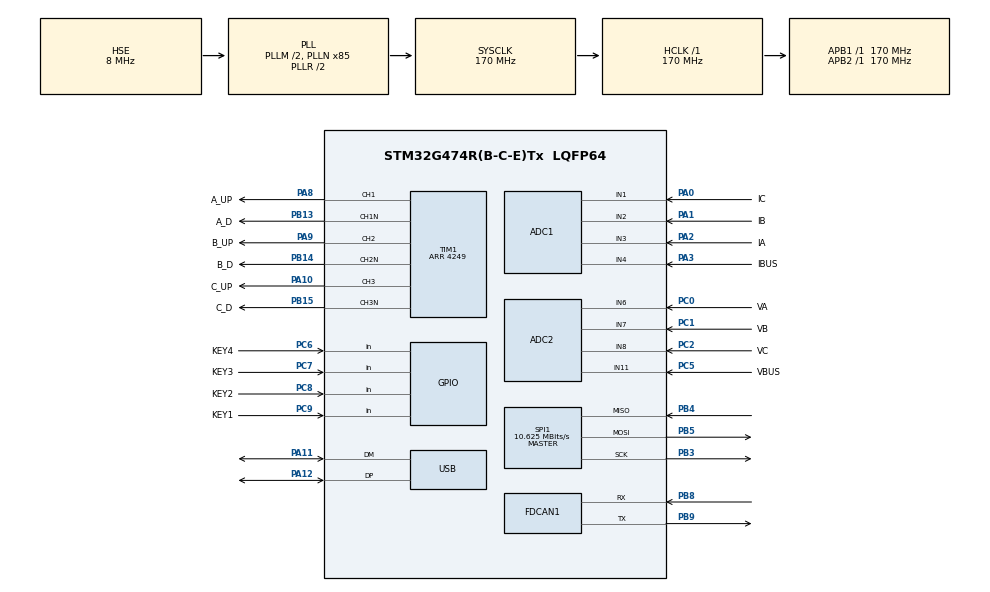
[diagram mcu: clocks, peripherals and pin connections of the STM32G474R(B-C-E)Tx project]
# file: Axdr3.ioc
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ADC1.Channel-6\#ChannelRegularConversion=ADC_CHANNEL_VREFINT
ADC1.EOCSelection=ADC_EOC_SEQ_CONV
ADC1.EnableInjectedConversion=ENABLE
ADC1.EnableRegularConversion=ENABLE
ADC1.ExternalTrigInjecConv=ADC_EXTERNALTRIGINJEC_T1_CC4
ADC1.ExternalTrigInjecConvEdge=ADC_EXTERNALTRIGINJECCONV_EDGE_FALLING
ADC1.InjNumberOfConversion=3
ADC1.InjectedChannel-1\#ChannelInjectedConversion=ADC_CHANNEL_1
ADC1.InjectedChannel-2\#ChannelInjectedConversion=ADC_CHANNEL_2
ADC1.InjectedChannel-3\#ChannelInjectedConversion=ADC_CHANNEL_3
ADC1.InjectedOffsetNumber-1\#ChannelInjectedConversion=ADC_OFFSET_NONE
ADC1.InjectedOffsetNumber-2\#ChannelInjectedConversion=ADC_OFFSET_NONE
ADC1.InjectedOffsetNumber-3\#ChannelInjectedConversion=ADC_OFFSET_NONE
ADC1.InjectedRank-1\#ChannelInjectedConversion=1
ADC1.InjectedRank-2\#ChannelInjectedConversion=2
ADC1.InjectedRank-3\#ChannelInjectedConversion=3
ADC1.InjectedSamplingTime-1\#ChannelInjectedConversion=ADC_SAMPLETIME_2CYCLES_5
ADC1.InjectedSamplingTime-2\#ChannelInjectedConversion=ADC_SAMPLETIME_2CYCLES_5
ADC1.InjectedSamplingTime-3\#ChannelInjectedConversion=ADC_SAMPLETIME_2CYCLES_5
ADC1.NbrOfConversionFlag=1
ADC1.OffsetNumber-6\#ChannelRegularConversion=ADC_OFFSET_NONE
ADC1.Rank-6\#ChannelRegularConversion=1
ADC1.SamplingTime-6\#ChannelRegularConversion=ADC_SAMPLETIME_247CYCLES_5
ADC1.master=1
ADC2.EOCSelection=ADC_EOC_SEQ_CONV
ADC2.EnableInjectedConversion=ENABLE
ADC2.EnableRegularConversion=DISABLE
ADC2.ExternalTrigInjecConv=ADC_EXTERNALTRIGINJEC_T1_CC4
ADC2.ExternalTrigInjecConvEdge=ADC_EXTERNALTRIGINJECCONV_EDGE_FALLING
ADC2.InjNumberOfConversion=1
ADC2.InjectedChannel-1\#ChannelInjectedConversion=ADC_CHANNEL_11
ADC2.InjectedOffsetNumber-1\#ChannelInjectedConversion=ADC_OFFSET_NONE
ADC2.InjectedRank-1\#ChannelInjectedConversion=1
ADC2.InjectedSamplingTime-1\#ChannelInjectedConversion=ADC_SAMPLETIME_2CYCLES_5
ADC2.Rank1_Channel=ADC_CHANNEL_11
FDCAN1.CalculateBaudRateNominal=500000
FDCAN1.CalculateTimeBitNominal=2000
FDCAN1.CalculateTimeQuantumNominal=100.0
FDCAN1.NominalPrescaler=17
FDCAN1.NominalTimeSeg1=16
FDCAN1.NominalTimeSeg2=3
Mcu.Family=STM32G4
Mcu.Name=STM32G474R(B-C-E)Tx
Mcu.Package=LQFP64
NVIC.ADC1_2_IRQn=true\:0\:0\:false\:false\:true\:true\:true\:true
NVIC.FDCAN1_IT0_IRQn=true\:1\:0\:true\:false\:true\:true\:true\:true
NVIC.FDCAN1_IT1_IRQn=true\:1\:0\:true\:false\:true\:true\:true\:true
NVIC.PriorityGroup=NVIC_PRIORITYGROUP_4
NVIC.TIM2_IRQn=true\:2\:0\:true\:false\:true\:true\:true\:true
NVIC.USB_LP_IRQn=true\:1\:0\:true\:false\:true\:false\:true\:true
PA0.GPIO_Label=IC
PA0.Mode=IN1-Single-Ended
PA0.Signal=ADC1_IN1
PA1.GPIO_Label=IB
PA1.Mode=IN2-Single-Ended
PA1.Signal=ADC1_IN2
PA10.GPIO_Label=C_UP
PA10.Signal=S_TIM1_CH3
PA11.Mode=Device
PA11.Signal=USB_DM
PA12.Mode=Device
PA12.Signal=USB_DP
PA13.Mode=Serial_Wire
PA13.Signal=SYS_JTMS-SWDIO
PA14.Mode=Serial_Wire
PA14.Signal=SYS_JTCK-SWCLK
PA2.GPIO_Label=IA
PA2.Mode=IN3-Single-Ended
PA2.Signal=ADC1_IN3
PA3.GPIO_Label=IBUS
PA3.Mode=IN4-Single-Ended
PA3.Signal=ADC1_IN4
PA8.GPIO_Label=A_UP
PA8.Signal=S_TIM1_CH1
PA9.GPIO_Label=B_UP
PA9.Signal=S_TIM1_CH2
PB13.GPIO_Label=A_D
PB13.Mode=PWM Generation1 CH1 CH1N
PB13.Signal=TIM1_CH1N
PB14.GPIO_Label=B_D
PB14.Mode=PWM Generation2 CH2 CH2N
PB14.Signal=TIM1_CH2N
PB15.GPIO_Label=C_D
PB15.Mode=PWM Generation3 CH3 CH3N
PB15.Signal=TIM1_CH3N
PB3.Mode=Full_Duplex_Master
PB3.Signal=SPI1_SCK
PB4.Mode=Full_Duplex_Master
PB4.Signal=SPI1_MISO
PB5.Mode=Full_Duplex_Master
PB5.Signal=SPI1_MOSI
PB8-BOOT0.Mode=FDCAN_Activate
PB8-BOOT0.Signal=FDCAN1_RX
PB9.Mode=FDCAN_Activate
PB9.Signal=FDCAN1_TX
PC0.GPIO_Label=VA
PC0.Mode=IN6-Single-Ended
PC0.Signal=ADC2_IN6
PC1.GPIO_Label=VB
PC1.Mode=IN7-Single-Ended
PC1.Signal=ADC2_IN7
PC2.GPIO_Label=VC
PC2.Mode=IN8-Single-Ended
PC2.Signal=ADC2_IN8
PC5.GPIO_Label=VBUS
PC5.Mode=IN11-Single-Ended
PC5.Signal=ADC2_IN11
PC6.GPIO_Label=KEY4
PC6.Signal=GPIO_Input
PC7.GPIO_Label=KEY3
PC7.Signal=GPIO_Input
PC8.GPIO_Label=KEY2
PC8.Signal=GPIO_Input
PC9.GPIO_Label=KEY1
PC9.Signal=GPIO_Input
PF0-OSC_IN.Mode=HSE-External-Oscillator
PF0-OSC_IN.Signal=RCC_OSC_IN
PF1-OSC_OUT.Mode=HSE-External-Oscillator
PF1-OSC_OUT.Signal=RCC_OSC_OUT
ProjectManager.HeapSize=0x200
ProjectManager.StackSize=0x400
ProjectManager.TargetToolchain=MDK-ARM V5.32
RCC.ADC12Freq_Value=170000000
RCC.ADC345Freq_Value=170000000
RCC.AHBFreq_Value=170000000
RCC.APB1Freq_Value=170000000
RCC.APB1TimFreq_Value=170000000
RCC.APB2Freq_Value=170000000
RCC.APB2TimFreq_Value=170000000
RCC.CK48CLockSelection=RCC_USBCLKSOURCE_HSI48
RCC.CortexFreq_Value=170000000
RCC.EXTERNAL_CLOCK_VALUE=12288000
RCC.HCLKFreq_Value=170000000
RCC.HSE_VALUE=8000000
RCC.HSI48_VALUE=48000000
RCC.HSI_VALUE=16000000
RCC.LSE_VALUE=32768
RCC.PLLM=RCC_PLLM_DIV2
RCC.PLLN=85
RCC.PLLQ=RCC_PLLQ_DIV4
RCC.PLLSourceVirtual=RCC_PLLSOURCE_HSE
RCC.SYSCLKFreq_VALUE=170000000
RCC.SYSCLKSource=RCC_SYSCLKSOURCE_PLLCLK
RCC.USBFreq_Value=48000000
RCC.VCOOutputFreq_Value=340000000
SH.S_TIM1_CH1.0=TIM1_CH1,PWM Generation1 CH1 CH1N
SH.S_TIM1_CH2.0=TIM1_CH2,PWM Generation2 CH2 CH2N
SH.S_TIM1_CH3.0=TIM1_CH3,PWM Generation3 CH3 CH3N
SPI1.BaudRatePrescaler=SPI_BAUDRATEPRESCALER_16
SPI1.CLKPhase=SPI_PHASE_2EDGE
SPI1.CalculateBaudRate=10.625 MBits/s
SPI1.DataSize=SPI_DATASIZE_16BIT
SPI1.Direction=SPI_DIRECTION_2LINES
SPI1.Mode=SPI_MODE_MASTER
SPI1.VirtualType=VM_MASTER
TIM1.Channel-PWM\ Generation1\ CH1\ CH1N=TIM_CHANNEL_1
TIM1.Channel-PWM\ Generation2\ CH2\ CH2N=TIM_CHANNEL_2
TIM1.Channel-PWM\ Generation3\ CH3\ CH3N=TIM_CHANNEL_3
TIM1.Channel-PWM\ Generation4\ No\ Output=TIM_CHANNEL_4
TIM1.CounterMode=TIM_COUNTERMODE_CENTERALIGNED2
TIM1.PeriodNoDither=4249
TIM2.AutoReloadPreload=TIM_AUTORELOAD_PRELOAD_DISABLE
TIM2.PeriodNoDither=9999
TIM2.Prescaler=16
TIM8.PeriodNoDither=17000
USB_DEVICE.APP_RX_DATA_SIZE=1024
USB_DEVICE.APP_TX_DATA_SIZE=1024
USB_DEVICE.CLASS_NAME_FS=CDC
USB_DEVICE.VirtualMode=Cdc
USB_DEVICE.VirtualModeFS=Cdc_FS
VP_ADC1_Vref_Input.Mode=IN-Vrefint
VP_CORDIC_VS_CORDIC.Mode=CORDIC_Activate
VP_SYS_VS_DBSignals.Mode=DisableDeadBatterySignals
VP_TIM1_VS_ClockSourceINT.Mode=Internal
VP_TIM1_VS_no_output4.Mode=PWM Generation4 No Output
VP_TIM2_VS_ClockSourceINT.Mode=Internal
VP_TIM8_VS_ClockSourceINT.Mode=Internal
VP_USB_DEVICE_VS_USB_DEVICE_CDC_FS.Mode=CDC_FS
board=custom

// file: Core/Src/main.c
/* USER CODE BEGIN Header */
/**
  ******************************************************************************
  * @file           : main.c
  * @brief          : Main program body
  ******************************************************************************
  * @attention
  *
  * Copyright (c) 2026 STMicroelectronics.
  * All rights reserved.
  *
  * This software is licensed under terms that can be found in the LICENSE file
  * in the root directory of this software component.
  * If no LICENSE file comes with this software, it is provided AS-IS.
  *
  ******************************************************************************
  */
/* USER CODE END Header */
#include "main.h"
#include "adc.h"
#include "cordic.h"
#include "fdcan.h"
#include "spi.h"
#include "tim.h"
#include "usb_device.h"
#include "gpio.h"

/* USER CODE BEGIN Includes */
#include "app_init.h"
#include "gloab.h"
#include "foc_main.h"
#include "usbd_cdc_if.h"
#include "foc.h"
/* USER CODE END Includes */

void SystemClock_Config(void);

/* USER CODE BEGIN 0 */
#define VOF_CH_NUM  20
#define byte0(dw_temp)     (*(char*)(&dw_temp))
#define byte1(dw_temp)     (*((char*)(&dw_temp) + 1))
#define byte2(dw_temp)     (*((char*)(&dw_temp) + 2))
#define byte3(dw_temp)     (*((char*)(&dw_temp) + 3))
uint16_t cnt = 0;
uint8_t send_buf[(VOF_CH_NUM+1)*4];

void vofa_transmit(uint8_t* buf, uint16_t len)
{
	CDC_Transmit_FS((uint8_t *)buf, len);
}

void vofa_send_data(uint8_t num, float data)
{
	send_buf[cnt++] = byte0(data);
	send_buf[cnt++] = byte1(data);
	send_buf[cnt++] = byte2(data);
	send_buf[cnt++] = byte3(data);
}

void vofa_sendframetail(void)
{
	send_buf[cnt++] = 0x00;
	send_buf[cnt++] = 0x00;
	send_buf[cnt++] = 0x80;
	send_buf[cnt++] = 0x7f;

	/* 将数据和帧尾打包发送 */
	vofa_transmit((uint8_t *)send_buf, cnt);
	cnt = 0;// 每次发送完帧尾都需要清零
}

void vofa_start(void)
{
  vofa_send_data(0,foc.vbus);
  vofa_send_data(1,foc.theta);
  vofa_send_data(2,foc_ctrl.omega_speed);
  vofa_send_data(3,foc.v_d);
  vofa_send_data(4,foc.v_q);
  vofa_send_data(5,foc.i_d);
  vofa_send_data(6,foc.i_q);
  vofa_send_data(7,foc_sample.obs_theta);
  vofa_send_data(8,pll_info.pll_theta);
  vofa_send_data(9,foc_ctrl.rpm);
  vofa_send_data(10,speed_td.speed_rpm);
  vofa_send_data(11,foc_sample.pll_speed);
  vofa_sendframetail();
}

void user_cycle(void)
{

    if(tim_tick.tick_ms)
    {
        foc_in_maincyc();
        tim_tick.tick_ms = 0;
    }
    vofa_start();
}
/* USER CODE END 0 */

int main(void)
{

  /* MCU Configuration--------------------------------------------------------*/

  /* Reset of all peripherals, Initializes the Flash interface and the Systick. */
  HAL_Init();

  /* Configure the system clock */
  SystemClock_Config();

  /* Initialize all configured peripherals */
  MX_GPIO_Init();
  MX_ADC1_Init();
  MX_ADC2_Init();
  MX_SPI1_Init();
  MX_TIM1_Init();
  MX_CORDIC_Init();
  MX_FDCAN1_Init();
  MX_TIM8_Init();
  MX_USB_Device_Init();
  MX_TIM2_Init();
  /* USER CODE BEGIN 2 */
  user_init();
  /* USER CODE END 2 */

  /* Infinite loop */
  /* USER CODE BEGIN WHILE */
  while (1)
  {
    user_cycle();
    /* USER CODE END WHILE */

  }
}

void SystemClock_Config(void)
{
  RCC_OscInitTypeDef RCC_OscInitStruct = {0};
  RCC_ClkInitTypeDef RCC_ClkInitStruct = {0};

  /** Configure the main internal regulator output voltage
  */
  HAL_PWREx_ControlVoltageScaling(PWR_REGULATOR_VOLTAGE_SCALE1_BOOST);

  /** Initializes the RCC Oscillators according to the specified parameters
  * in the RCC_OscInitTypeDef structure.
  */
  RCC_OscInitStruct.OscillatorType = RCC_OSCILLATORTYPE_HSI48|RCC_OSCILLATORTYPE_HSE;
  RCC_OscInitStruct.HSEState = RCC_HSE_ON;
  RCC_OscInitStruct.HSI48State = RCC_HSI48_ON;
  RCC_OscInitStruct.PLL.PLLState = RCC_PLL_ON;
  RCC_OscInitStruct.PLL.PLLSource = RCC_PLLSOURCE_HSE;
  RCC_OscInitStruct.PLL.PLLM = RCC_PLLM_DIV2;
  RCC_OscInitStruct.PLL.PLLN = 85;
  RCC_OscInitStruct.PLL.PLLP = RCC_PLLP_DIV2;
  RCC_OscInitStruct.PLL.PLLQ = RCC_PLLQ_DIV4;
  RCC_OscInitStruct.PLL.PLLR = RCC_PLLR_DIV2;
  if (HAL_RCC_OscConfig(&RCC_OscInitStruct) != HAL_OK)
  {
    Error_Handler();
  }

  /** Initializes the CPU, AHB and APB buses clocks
  */
  RCC_ClkInitStruct.ClockType = RCC_CLOCKTYPE_HCLK|RCC_CLOCKTYPE_SYSCLK
                              |RCC_CLOCKTYPE_PCLK1|RCC_CLOCKTYPE_PCLK2;
  RCC_ClkInitStruct.SYSCLKSource = RCC_SYSCLKSOURCE_PLLCLK;
  RCC_ClkInitStruct.AHBCLKDivider = RCC_SYSCLK_DIV1;
  RCC_ClkInitStruct.APB1CLKDivider = RCC_HCLK_DIV1;
  RCC_ClkInitStruct.APB2CLKDivider = RCC_HCLK_DIV1;

  if (HAL_RCC_ClockConfig(&RCC_ClkInitStruct, FLASH_LATENCY_4) != HAL_OK)
  {
    Error_Handler();
  }
}

void Error_Handler(void)
{
  __disable_irq();
  while (1)
  {
  }
}
